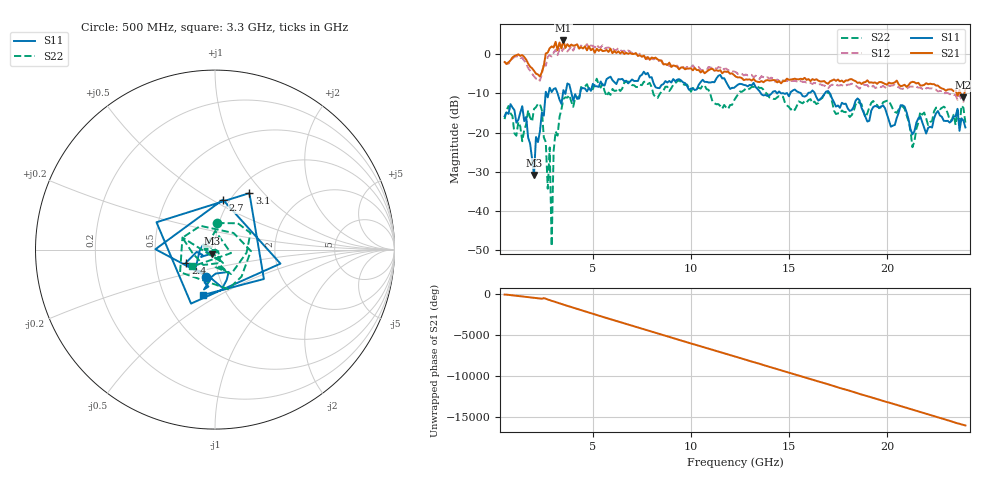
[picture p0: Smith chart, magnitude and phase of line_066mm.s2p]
!Created with skrf (http://scikit-rf.org).
# GHz S RI R 50.0
!freq ReS11 ImS11 ReS21 ImS21 ReS12 ImS12 ReS22 ImS22
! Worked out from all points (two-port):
!   236 points, 500 MHz to 24 GHz, reference 50 ohm
!   highest |S21| = 3.49 dB at 3.5 GHz (marker M1); lowest = -11.0 dB at 23.9 GHz (marker M2)
!   |S21| within 3 dB of the highest: 2.707 GHz to 5.088 GHz (2.381 GHz wide, 61.1 % of centre); 5.112 GHz to 5.979 GHz (866.4 MHz wide, 15.6 % of centre) (the widest 2 of 5)
!   lowest |S11| = -30.8 dB at 2 GHz (marker M3), VSWR 1.06, Z = 48.1 - j2.14 ohm
!   |S11| at or under -10 dB: start of sweep to 2.593 GHz; 13.57 GHz to 14.12 GHz (547.7 MHz wide, 3.96 % of centre); 17.09 GHz to end of sweep (the widest 3 of 13)
!   |S22| runs from -49.0 to -6.3 dB; largest |S21 - S12| = 2.6
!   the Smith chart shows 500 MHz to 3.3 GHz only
!   S11 on the Smith chart (normalised r, x): 500 MHz: 0.86, -0.27; 2.4 GHz: 0.71, -0.11; 2.7 GHz: 0.93, +0.56; 3.1 GHz: 1.15, +0.84; 3.3 GHz: 0.77, -0.42
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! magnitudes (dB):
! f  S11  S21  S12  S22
! 500 MHz  -15.8  -2.0  -1.9  -16.6
! 1.4 GHz  -13.3  -0.2  -1.0  -22.2
! 2 GHz  -30.8  -4.2  -5.6  -14.0
! 2.1 GHz  -21.1  -5.0  -6.3  -13.5
! 2.4 GHz  -14.9  -4.6  -5.1  -14.3
! 2.7 GHz  -11.0  0.4  -0.7  -34.3
! 2.8 GHz  -8.6  1.5  -0.2  -23.8
! 2.9 GHz  -9.7  2.0  -0.6  -49.0
! 3 GHz  -8.9  1.7  0.4  -24.7
! 3.1 GHz  -8.7  3.1  1.2  -19.7
! 3.3 GHz  -11.6  3.0  1.3  -16.0
! 3.5 GHz  -9.2  3.5  1.2  -11.4
! 4.5 GHz  -8.7  1.4  1.6  -8.8
! 8.4 GHz  -8.7  -1.6  -1.7  -10.3
! 12.3 GHz  -8.2  -5.8  -4.6  -11.0
! 16.2 GHz  -9.3  -6.4  -7.6  -12.5
! 20.1 GHz  -16.8  -7.3  -8.0  -11.9
! 20.8 GHz  -13.0  -8.0  -8.8  -13.3
! 21.3 GHz  -20.5  -7.0  -8.3  -23.7
! 21.7 GHz  -15.9  -8.0  -8.5  -14.7
! 23.9 GHz  -16.9  -11.0  -12.1  -13.7
! 24 GHz  -18.7  -8.9  -10.2  -17.4
